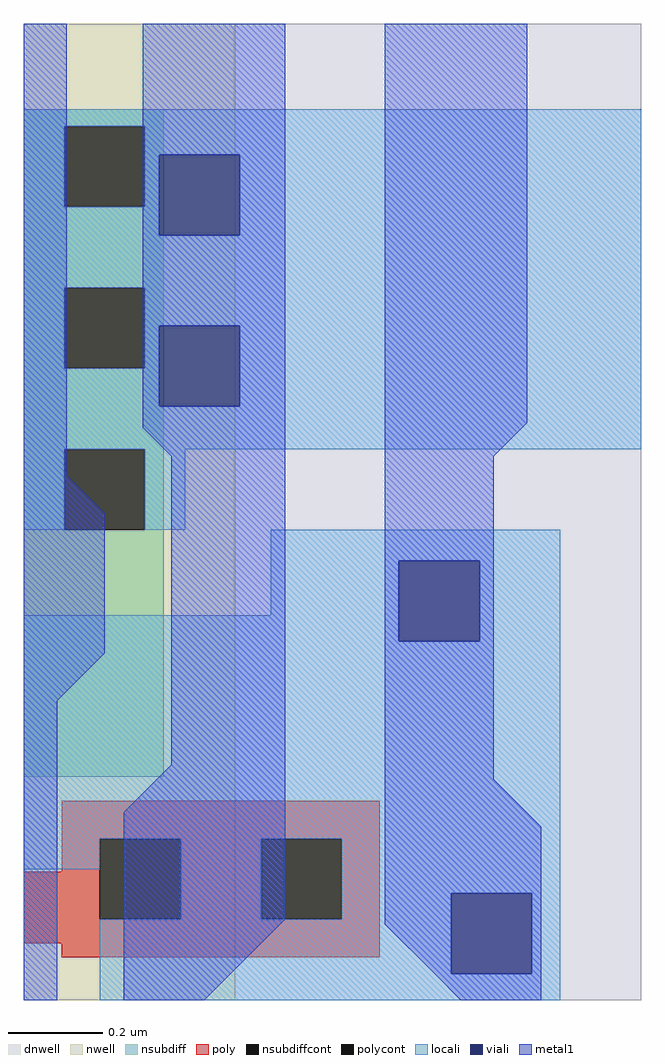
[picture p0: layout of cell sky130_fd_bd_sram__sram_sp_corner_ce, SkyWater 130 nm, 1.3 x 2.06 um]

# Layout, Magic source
magic
tech sky130A
magscale 1 2
<< dnwell >>
rect 0 0 260 411
<< nwell >>
rect 0 0 89 411
<< nsubdiff >>
rect 0 368 59 375
rect 0 334 17 368
rect 51 334 59 368
rect 0 300 59 334
rect 0 266 17 300
rect 51 266 59 300
rect 0 232 59 266
rect 0 198 17 232
rect 51 198 59 232
rect 0 94 59 198
<< nsubdiffcont >>
rect 17 334 51 368
rect 17 266 51 300
rect 17 198 51 232
<< poly >>
rect 16 68 150 84
rect 16 54 32 68
rect 0 34 32 54
rect 66 34 100 68
rect 134 34 150 68
rect 0 24 150 34
rect 16 18 150 24
<< polycont >>
rect 32 34 66 68
rect 100 34 134 68
<< locali >>
rect 0 368 260 375
rect 0 334 17 368
rect 51 356 260 368
rect 51 334 57 356
rect 0 322 57 334
rect 91 322 260 356
rect 0 300 260 322
rect 0 266 17 300
rect 51 284 260 300
rect 51 266 57 284
rect 0 250 57 266
rect 91 250 260 284
rect 0 232 260 250
rect 0 198 17 232
rect 51 198 68 232
rect 104 185 226 198
rect 104 162 158 185
rect 0 151 158 162
rect 192 151 226 185
rect 0 68 226 151
rect 0 55 32 68
rect 66 34 100 68
rect 134 45 226 68
rect 134 34 180 45
rect 32 11 180 34
rect 214 11 226 45
rect 32 0 226 11
<< viali >>
rect 57 322 91 356
rect 57 250 91 284
rect 158 151 192 185
rect 180 11 214 45
<< metal1 >>
rect 0 205 18 411
rect 50 356 110 411
rect 50 322 57 356
rect 91 322 110 356
rect 50 284 110 322
rect 50 250 57 284
rect 91 250 110 284
rect 50 241 110 250
tri 50 229 62 241 ne
tri 18 205 34 221 sw
rect 0 146 34 205
rect 0 0 14 146
tri 14 126 34 146 nw
tri 42 79 62 99 se
rect 62 79 110 241
rect 42 34 110 79
rect 42 0 76 34
tri 76 0 110 34 nw
rect 152 243 212 411
rect 152 185 198 243
tri 198 229 212 243 nw
rect 152 151 158 185
rect 192 151 198 185
rect 152 73 198 151
tri 198 73 218 93 sw
rect 152 45 218 73
rect 152 32 180 45
tri 152 11 173 32 ne
rect 173 11 180 32
rect 214 11 218 45
tri 173 0 184 11 ne
rect 184 0 218 11
<< end >>
